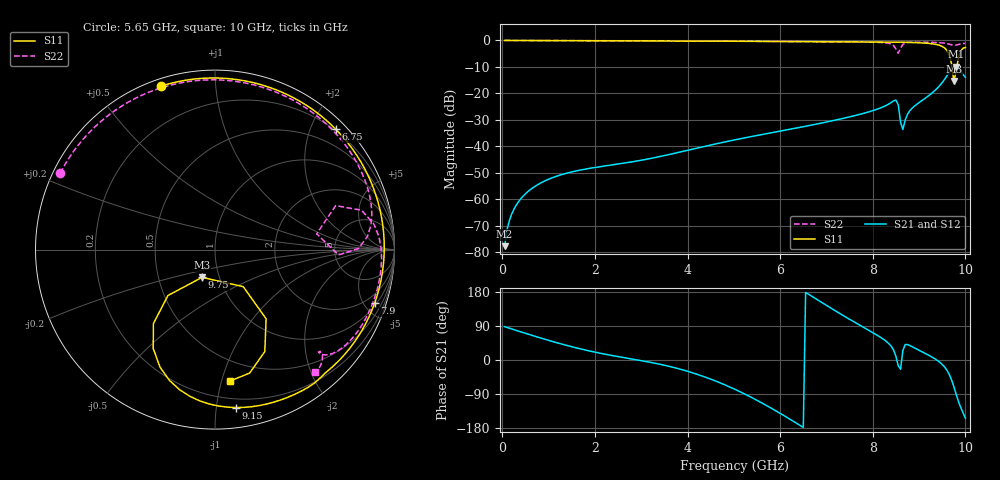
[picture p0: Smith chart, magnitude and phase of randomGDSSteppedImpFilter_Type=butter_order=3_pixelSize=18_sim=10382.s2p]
! freq	dB(S11)	phase(S11)	dB(S12)	phase(S12)
!  dB(S21)	phase(S21)	dB(S22)	phase(S22)
!S-par simulation data
#  GHz  S  DB  R 50
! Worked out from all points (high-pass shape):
!   200 points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, 50 MHz to 10 GHz, reference 50 ohm
!   highest |S21| = -9.94 dB at 9.8 GHz (marker M1); lowest = -77.7 dB at 50 MHz (marker M2)
!   |S21| within 3 dB of the highest: 9.619 GHz to 9.951 GHz (332.3 MHz wide, 3.4 % of centre)
!   lowest |S11| = -15.4 dB at 9.75 GHz (marker M3), VSWR 1.41, Z = 41.4 - j13.2 ohm
!   |S11| at or under -10 dB: 9.71 GHz to 9.816 GHz (106.5 MHz wide, 1.09 % of centre)
!   |S22| runs from -4.8 to 0.0 dB; largest |S21 - S12| = 0
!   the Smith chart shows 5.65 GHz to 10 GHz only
!   S11 on the Smith chart (normalised r, x): 5.65 GHz: 0.03, +0.72; 6.75 GHz: 0.17, +2.41; 7.9 GHz: 1.18, -5.89; 9.15 GHz: 0.14, -1.13; 9.75 GHz: 0.83, -0.26; 10 GHz: 0.33, -1.06
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0.05  -0.01 -2.2  -77.74 88.0  -77.74 88.0  -0.00 -1.8
0.2  -0.01 -8.6  -65.75 82.0  -65.75 82.0  -0.01 -7.3
0.5  -0.02 -21.4  -57.95 70.4  -57.95 70.4  -0.02 -18.1
1.75  -0.09 -73.9  -48.76 27.5  -48.76 27.5  -0.08 -62.3
2.55  -0.13 -107.0  -46.57 7.9  -46.57 7.9  -0.11 -90.1
3.4  -0.18 -142.6  -43.88 -11.1  -43.88 -11.1  -0.16 -119.5
4.25  -0.24 179.6  -40.51 -39.5  -40.51 -39.5  -0.21 -150.0
5.05  -0.31 140.5  -37.46 -78.9  -37.46 -78.9  -0.28 179.2
5.65  -0.36 108.2  -35.41 -116.3  -35.41 -116.3  -0.34 153.7
6.7  -0.44 47.9  -31.90 166.8  -31.90 166.8  -0.46 103.0
6.75  -0.44 45.0  -31.73 163.0  -31.73 163.0  -0.46 100.4
7.9  -0.55 -18.6  -27.07 79.3  -27.07 79.3  -0.63 37.3
8.35  -0.65 -41.3  -23.97 42.9  -23.97 42.9  -1.11 9.1
8.5  -0.71 -48.4  -22.54 9.8  -22.54 9.8  -3.24 -2.5
8.55  -0.68 -50.7  -24.27 -15.3  -24.27 -15.3  -4.83 8.8
8.65  -0.67 -56.0  -33.64 25.0  -33.64 25.0  -1.46 15.0
8.8  -0.75 -63.7  -26.56 38.2  -26.56 38.2  -0.67 0.5
9.15  -1.04 -82.6  -21.63 16.2  -21.63 16.2  -0.66 -19.9
9.6  -3.75 -122.0  -13.44 -26.7  -13.44 -26.7  -1.19 -41.7
9.75  -15.36 -115.0  -10.02 -70.2  -10.02 -70.2  -1.83 -44.7
9.8  -11.72 -52.7  -9.94 -90.4  -9.94 -90.4  -1.77 -44.1
10  -2.65 -83.6  -13.90 -153.3  -13.90 -153.3  -1.09 -50.7
